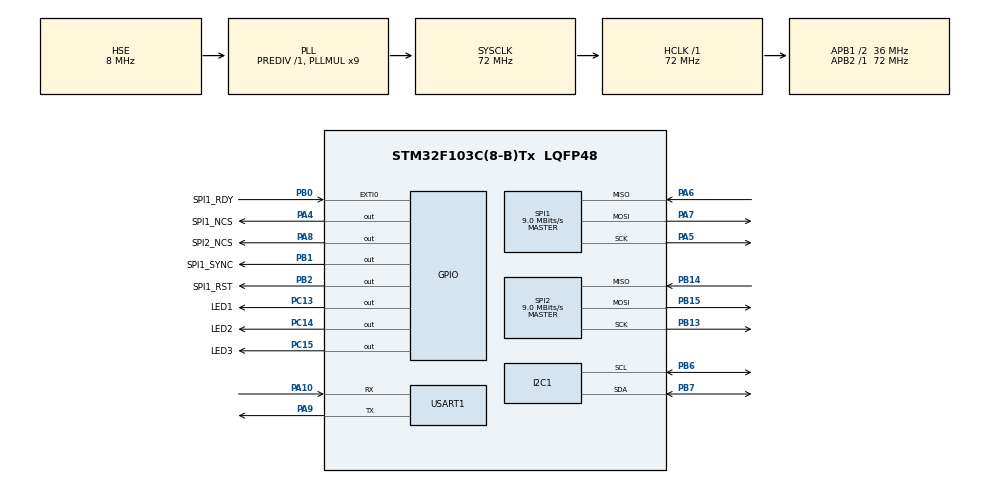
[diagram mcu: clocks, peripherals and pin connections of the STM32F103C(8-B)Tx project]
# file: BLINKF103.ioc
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Mcu.Family=STM32F1
PA6.Mode=Full_Duplex_Master
FATFS._USE_LFN=1
SPI1.VirtualType=VM_MASTER
SPI2.VirtualType=VM_MASTER
PB0.GPIO_Label=SPI1_RDY
PB13.Signal=SPI2_SCK
PB15.Signal=SPI2_MOSI
PC15-OSC32_OUT.GPIO_Label=LED3
RCC.SYSCLKSource=RCC_SYSCLKSOURCE_PLLCLK
ProjectManager.StackSize=0x400
PD1-OSC_OUT.Signal=RCC_OSC_OUT
SPI1.Direction=SPI_DIRECTION_2LINES
RCC.HCLKFreq_Value=72000000
RCC.APB2TimFreq_Value=72000000
PB6.Signal=I2C1_SCL
SPI1.CalculateBaudRate=9.0 MBits/s
PB6.Mode=I2C
RCC.AHBFreq_Value=72000000
SPI2.BaudRatePrescaler=SPI_BAUDRATEPRESCALER_4
PB2.Signal=GPIO_Output
RCC.PLLMUL=RCC_PLL_MUL9
FATFS._USE_STRFUNC=2
PB0.GPIO_ModeDefaultEXTI=GPIO_MODE_IT_FALLING
PA14.Mode=Serial_Wire
PB14.Mode=Full_Duplex_Master
PB1.GPIO_Label=SPI1_SYNC
SPI2.CalculateBaudRate=9.0 MBits/s
PB7.Signal=I2C1_SDA
PA8.Signal=GPIO_Output
Mcu.Package=LQFP48
TIM2.Prescaler=36-1
PB1.Signal=GPIO_Output
PA6.Signal=SPI1_MISO
SPI2.Mode=SPI_MODE_MASTER
PA10.Signal=USART1_RX
SPI2.CLKPhase=SPI_PHASE_1EDGE
RCC.APB1TimFreq_Value=72000000
PC14-OSC32_IN.GPIO_Label=LED2
SPI2.Direction=SPI_DIRECTION_2LINES
PB13.Mode=Full_Duplex_Master
NVIC.USART1_IRQn=true\:0\:0\:false\:false\:true\:true\:true
SPI1.BaudRatePrescaler=SPI_BAUDRATEPRESCALER_8
PA4.GPIO_Label=SPI1_NCS
PA5.Mode=Full_Duplex_Master
RCC.PLLSourceVirtual=RCC_PLLSOURCE_HSE
PA7.Mode=Full_Duplex_Master
PD1-OSC_OUT.Mode=HSE-External-Oscillator
PA10.Mode=Asynchronous
PC13-TAMPER-RTC.Signal=GPIO_Output
SPI1.CLKPhase=SPI_PHASE_2EDGE
PD0-OSC_IN.Signal=RCC_OSC_IN
RCC.APB1CLKDivider=RCC_HCLK_DIV2
PC14-OSC32_IN.Signal=GPIO_Output
PA13.Signal=SYS_JTMS-SWDIO
PA9.Mode=Asynchronous
PA8.GPIO_Label=SPI2_NCS
ProjectManager.TargetToolchain=STM32CubeIDE
I2C1.I2C_Mode=I2C_Fast
PA9.Signal=USART1_TX
RCC.USBFreq_Value=72000000
PC15-OSC32_OUT.Signal=GPIO_Output
VP_FATFS_VS_Generic.Mode=User_defined
PD0-OSC_IN.Mode=HSE-External-Oscillator
PB14.Signal=SPI2_MISO
PA5.Signal=SPI1_SCK
board=custom
PC13-TAMPER-RTC.GPIO_Label=LED1
PB15.Mode=Full_Duplex_Master
RCC.APB2Freq_Value=72000000
VP_TIM2_VS_ClockSourceINT.Mode=Internal
SPI1.Mode=SPI_MODE_MASTER
TIM2.Period=65535-1
PA13.Mode=Serial_Wire
Mcu.Name=STM32F103C(8-B)Tx
FATFS._MAX_SS=1024
NVIC.EXTI0_IRQn=true\:0\:0\:false\:false\:true\:true\:true
PA4.Signal=GPIO_Output
RCC.SYSCLKFreq_VALUE=72000000
USART1.VirtualMode=VM_ASYNC
PB7.Mode=I2C
PA14.Signal=SYS_JTCK-SWCLK
PB2.GPIO_Label=SPI1_RST
ProjectManager.HeapSize=0x200
NVIC.PriorityGroup=NVIC_PRIORITYGROUP_4
RCC.APB1Freq_Value=36000000
PB0.Signal=GPXTI0
PA7.Signal=SPI1_MOSI

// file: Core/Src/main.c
/* USER CODE BEGIN Header */
/**
 ******************************************************************************
 * @file           : main.c
 * @brief          : Main program body
 ******************************************************************************
 * @attention
 *
 * <h2><center>&copy; Copyright (c) 2020 STMicroelectronics.
 * All rights reserved.</center></h2>
 *
 * This software component is licensed by ST under BSD 3-Clause license,
 * the "License"; You may not use this file except in compliance with the
 * License. You may obtain a copy of the License at:
 *                        opensource.org/licenses/BSD-3-Clause
 *
 ******************************************************************************
 */
/* USER CODE END Header */
#include "main.h"
#include "fatfs.h"

/* USER CODE BEGIN Includes */
#include "fatfs_sd.h"
#include "string.h"
#include "stdio.h"
#include "ads1256.h"
#include "file_handling.h"
#include "UartRingbuffer.h"
#include "stm32f1xx_it.h"
#include "MPU6050.h"

/* USER CODE END Includes */

/* USER CODE BEGIN PD */

#define FILE_BASE_NAME "ESQ"
/* USER CODE END PD */

I2C_HandleTypeDef hi2c1;

SPI_HandleTypeDef hspi1;
SPI_HandleTypeDef hspi2;

TIM_HandleTypeDef htim2;

UART_HandleTypeDef huart1;

/* USER CODE BEGIN PV */

FATFS fs;
FIL fil;
FRESULT fresult;
//char buffer[256];
char *exchange_buffer1[1];
int conversion_trigger = 0;
int line_counter = 0;
char uart_buffer[64];
uint32_t adc_return1;
uint32_t adc_return2;
uint32_t adc_return3;
uint32_t adc_return4;
uint32_t adc_return5;
uint32_t adc_return6;
uint32_t adc_return7;
uint32_t adc_return8;

extern float angleAccX, angleAccY;
extern float angleX, angleY, angleZ;
extern float temp, accX, accY, accZ, gyroX, gyroY, gyroZ;
extern int16_t Accel_X_RAW, Accel_Y_RAW, Accel_Z_RAW;
extern float acc_total_vector, angle_pitch_acc, angle_roll_acc;

/* USER CODE END PV */

void SystemClock_Config(void);
static void MX_GPIO_Init(void);
static void MX_TIM2_Init(void);
static void MX_SPI1_Init(void);
static void MX_USART1_UART_Init(void);
static void MX_SPI2_Init(void);
static void MX_I2C1_Init(void);

/* USER CODE BEGIN 0 */

const uint8_t BASE_NAME_SIZE = sizeof(FILE_BASE_NAME) - 1;
char fileName[] = FILE_BASE_NAME "00.txt";

char cmd = 0;

/* USER CODE END 0 */

int main(void)
{

	/* MCU Configuration--------------------------------------------------------*/

	/* Reset of all peripherals, Initializes the Flash interface and the Systick. */
	HAL_Init();

	/* Configure the system clock */
	SystemClock_Config();

	/* Initialize all configured peripherals */
	MX_GPIO_Init();
	MX_TIM2_Init();
	MX_SPI1_Init();
	MX_USART1_UART_Init();
	MX_FATFS_Init();
	MX_SPI2_Init();
	MX_I2C1_Init();
	/* USER CODE BEGIN 2 */
	HAL_TIM_Base_Start(&htim2);
	HAL_GPIO_WritePin(SPI1_RST_GPIO_Port, SPI1_RST_Pin, 1);
	Ringbuf_init();
	HAL_GPIO_WritePin(LED1_GPIO_Port, LED1_Pin, 0);
	HAL_GPIO_WritePin(LED2_GPIO_Port, LED2_Pin, 1);
	HAL_GPIO_WritePin(LED3_GPIO_Port, LED3_Pin, 1);
	HAL_Delay(1000);
	send_uart("Inicializando lado direito. Por favor, aguarde...\n");

	initADS();

	send_uart("Montando SD...\n");

	mount_sd();

	create_file_mod(BASE_NAME_SIZE, fileName);

	//send_uart("Inicializando IMU...\n");
	//MPU6050_Init();
	//MPU6050_Retrieve_Data();
	/* USER CODE END 2 */

	/* Infinite loop */
	while (1) {

		/* USER CODE BEGIN 3 */
		// ------------------------------------
		// Testing the ADS1256 functions
		// ------------------------------------
		//send_uart("Faaaaaaaaala Nigeeeeeel\n");
		//MPU6050_Update();
		//sprintf(uart_buffer,"%0.2f\t%0.2f\t%0.2f\t%0.2f\n",(float)angleAccX,(float)angleAccY,(float)angleX,(float)angleY);
		//send_uart(uart_buffer);
		//HAL_Delay(50);

		if (conversion_trigger == 1) {
			const uint32_t timezinho = GetMicros();
			adc_return1 = read_Value(0x68);
			adc_return2 = read_Value(0x58);
			adc_return3 = read_Value(0x78);
			sprintf(buffer, "%lu\t%lu\t%lu\t%lu\n", (unsigned long) timezinho,
					(unsigned long) adc_return1, (unsigned long) adc_return2,
					(unsigned long) adc_return3);
			const uint8_t buflen = strlen(buffer);
			memccpy(&buffer_SD[line_counter * buflen], buffer, 0, buflen);
			line_counter++;
			if (line_counter * buflen > BUFFER_SIZE * ROW_SIZE - buflen) {
				write_file_mod(fileName, buffer_SD);
				line_counter = 0;
				clear_buffer_SD();
			}
		}

		if (conversion_trigger == 2) {
			const uint32_t timezinho = GetMicros();
			adc_return1 = read_Value(0x68);
			adc_return2 = read_Value(0x58);
			adc_return4 = read_Value(0x48);
			adc_return5 = read_Value(0x38);
			adc_return6 = read_Value(0x28);
			adc_return7 = read_Value(0x18);
			adc_return8 = read_Value(0x08);
			adc_return3 = read_Value(0x78);
			sprintf(buffer, "%lu\t%lu\t%lu\t%lu\t%lu\t%lu\t%lu\t%lu\t%lu\n",
					(unsigned long) timezinho, (unsigned long) adc_return1,
					(unsigned long) adc_return2, (unsigned long) adc_return4,
					(unsigned long) adc_return5, (unsigned long) adc_return6,
					(unsigned long) adc_return7, (unsigned long) adc_return8,
					(unsigned long) adc_return3);
			const uint8_t buflen = strlen(buffer);
			memccpy(&buffer_SD[line_counter * buflen], buffer, 0, buflen);
			line_counter++;
			if (line_counter * buflen > BUFFER_SIZE * ROW_SIZE - buflen) {
				write_file_mod(fileName, buffer_SD);
				line_counter = 0;
				clear_buffer_SD();
			}
		}

		if (conversion_trigger == 3) {
			const uint32_t timezinho = GetMicros();
			adc_return1 = read_Value(0x68);
			adc_return2 = read_Value(0x58);
			adc_return3 = read_Value(0x78);
			sprintf(buffer, "%lu\t%lu\t%lu\t%lu\n", (unsigned long) timezinho,
					(unsigned long) adc_return1, (unsigned long) adc_return2,
					(unsigned long) adc_return3);
			const uint8_t buflen = strlen(buffer);
			send_uart(buffer);
			line_counter++;
			if (line_counter * buflen > BUFFER_SIZE * ROW_SIZE - buflen) {
				line_counter = 0;
			}
		}

		if (conversion_trigger == 4) {
			const uint32_t timezinho = GetMicros();
			adc_return1 = read_Value(0x68);
			adc_return2 = read_Value(0x58);
			adc_return4 = read_Value(0x48);
			adc_return5 = read_Value(0x38);
			adc_return6 = read_Value(0x28);
			adc_return7 = read_Value(0x18);
			adc_return8 = read_Value(0x08);
			adc_return3 = read_Value(0x78);
			sprintf(buffer, "%lu\t%lu\t%lu\t%lu\t%lu\t%lu\t%lu\t%lu\t%lu\n",
					(unsigned long) timezinho, (unsigned long) adc_return1,
					(unsigned long) adc_return2,
					(unsigned long) adc_return4, (unsigned long) adc_return5,
					(unsigned long) adc_return6, (unsigned long) adc_return7,
					(unsigned long) adc_return8, (unsigned long) adc_return3);
			const uint8_t buflen = strlen(buffer);
			send_uart(buffer);
			line_counter++;
			if (line_counter * buflen > BUFFER_SIZE * ROW_SIZE - buflen) {
				line_counter = 0;
			}
		}
		// ------------------------------------
		// Strip of the code that treats the SD
		// ------------------------------------
		while (IsDataAvailable()) {
			//		  buffer = Uart_read();
			Get_string(buffer);
			uint8_t len = cmdlength(buffer);

			//		  buffer[0]='l';
			//		  buffer[1]='s';
			get_path();
			//
			if (!(strncmp("ls", buffer, len)))
				cmd = 'l';

			if (!(strncmp("mkdir", buffer, len)))
				cmd = 'm';

			if (!(strncmp("mkfil", buffer, len)))
				cmd = 'c';

			if (!(strncmp("read", buffer, len)))
				cmd = 'r';

			if (!(strncmp("write", buffer, len)))
				cmd = 'w';

			if (!(strncmp("rm", buffer, len)))
				cmd = 'd';

			if (!(strncmp("update", buffer, len)))
				cmd = 'u';

			if (!(strncmp("checkfile", buffer, len)))
				cmd = 'f';

			if (!(strncmp("checksd", buffer, len)))
				cmd = 's';

			if (!(strncmp("sd3", buffer, len)))
				cmd = 'x';

			if (!(strncmp("serial3", buffer, len)))
				cmd = 'b';

			if (!(strncmp("sd8", buffer, len)))
				cmd = 'a';

			if (!(strncmp("serial8", buffer, len)))
				cmd = 'e';

			if (!(strncmp("end", buffer, len)))
				cmd = 'y';
			//sprintf (buffer, "BUFFER SIZE: \t%d\n",len);
			//send_uart(buffer);

			switch (cmd) {
			case ('x'):
										//send_uart("ADS1256 started.");
										HAL_GPIO_WritePin(LED1_GPIO_Port, LED1_Pin, 1);
			HAL_GPIO_WritePin(LED2_GPIO_Port, LED2_Pin, 0);
			HAL_GPIO_WritePin(LED3_GPIO_Port, LED3_Pin, 1);
			//				create_file_mod(BASE_NAME_SIZE, fileName);
			delayMicroseconds(500);
			cmd = 0;
			conversion_trigger = 1;
			clear_buffer();
			clear_path();
			UptimeMillis = 0;
			break;

			case ('a'):
										//send_uart("ADS1256 started.");
										HAL_GPIO_WritePin(LED1_GPIO_Port, LED1_Pin, 1);
			HAL_GPIO_WritePin(LED2_GPIO_Port, LED2_Pin, 0);
			HAL_GPIO_WritePin(LED3_GPIO_Port, LED3_Pin, 1);
			//				create_file_mod(BASE_NAME_SIZE, fileName);
			delayMicroseconds(500);
			cmd = 0;
			conversion_trigger = 2;
			clear_buffer();
			clear_path();
			UptimeMillis = 0;
			break;

			case ('b'):
										//send_uart("ADS1256 started.");
										HAL_GPIO_WritePin(LED1_GPIO_Port, LED1_Pin, 1);
			HAL_GPIO_WritePin(LED2_GPIO_Port, LED2_Pin, 1);
			HAL_GPIO_WritePin(LED3_GPIO_Port, LED3_Pin, 0);
			//				create_file_mod(BASE_NAME_SIZE, fileName);
			delayMicroseconds(500);
			cmd = 0;
			conversion_trigger = 3;
			clear_buffer();
			clear_path();
			UptimeMillis = 0;
			break;

			case ('e'):
										//send_uart("ADS1256 started.");
										HAL_GPIO_WritePin(LED1_GPIO_Port, LED1_Pin, 1);
			HAL_GPIO_WritePin(LED2_GPIO_Port, LED2_Pin, 1);
			HAL_GPIO_WritePin(LED3_GPIO_Port, LED3_Pin, 0);
			//				create_file_mod(BASE_NAME_SIZE, fileName);
			delayMicroseconds(500);
			cmd = 0;
			conversion_trigger = 4;
			clear_buffer();
			clear_path();
			UptimeMillis = 0;
			break;

			case ('y'):
										//send_uart("ADS1256 halted.");
										HAL_GPIO_WritePin(LED1_GPIO_Port, LED1_Pin, 0);
			HAL_GPIO_WritePin(LED2_GPIO_Port, LED2_Pin, 1);
			HAL_GPIO_WritePin(LED3_GPIO_Port, LED3_Pin, 1);
			cmd = 0;
			conversion_trigger = 0;
			write_file_mod(fileName, buffer_SD);
			close_file(fileName);
			clear_buffer_SD();
			clear_buffer();
			clear_path();
			create_file_mod(BASE_NAME_SIZE, fileName);
			break;

			case ('l'):
										scan_files(path);
			cmd = 0;
			clear_buffer();
			clear_path();
			break;

			case ('m'):
										create_dir(path);
			cmd = 0;
			clear_buffer();
			clear_path();
			break;

			case ('c'):
										create_file(path);
			cmd = 0;
			clear_buffer();
			clear_path();
			break;

			case ('r'):
										read_file(path);
			cmd = 0;
			clear_buffer();
			clear_path();
			break;

			case ('w'):
										write_file(path);
			cmd = 0;
			clear_buffer();
			clear_path();
			break;

			case ('d'):
										remove_file(path);
			cmd = 0;
			clear_buffer();
			clear_path();
			break;

			case ('u'):
										update_file(path);
			cmd = 0;
			clear_buffer();
			clear_path();
			break;

			case ('f'):
										check_file(path);
			cmd = 0;
			clear_buffer();
			clear_path();
			break;

			case ('s'):
										check_sd();
			cmd = 0;
			clear_buffer();
			clear_path();
			break;

			default:
				clear_buffer();
				clear_path();
				break;
			}
		}
	}
	/* USER CODE END 3 */
}

void SystemClock_Config(void)
{
	RCC_OscInitTypeDef RCC_OscInitStruct = {0};
	RCC_ClkInitTypeDef RCC_ClkInitStruct = {0};

	/** Initializes the RCC Oscillators according to the specified parameters
	 * in the RCC_OscInitTypeDef structure.
	 */
	RCC_OscInitStruct.OscillatorType = RCC_OSCILLATORTYPE_HSE;
	RCC_OscInitStruct.HSEState = RCC_HSE_ON;
	RCC_OscInitStruct.HSEPredivValue = RCC_HSE_PREDIV_DIV1;
	RCC_OscInitStruct.HSIState = RCC_HSI_ON;
	RCC_OscInitStruct.PLL.PLLState = RCC_PLL_ON;
	RCC_OscInitStruct.PLL.PLLSource = RCC_PLLSOURCE_HSE;
	RCC_OscInitStruct.PLL.PLLMUL = RCC_PLL_MUL9;
	if (HAL_RCC_OscConfig(&RCC_OscInitStruct) != HAL_OK)
	{
		Error_Handler();
	}
	/** Initializes the CPU, AHB and APB buses clocks
	 */
	RCC_ClkInitStruct.ClockType = RCC_CLOCKTYPE_HCLK|RCC_CLOCKTYPE_SYSCLK
			|RCC_CLOCKTYPE_PCLK1|RCC_CLOCKTYPE_PCLK2;
	RCC_ClkInitStruct.SYSCLKSource = RCC_SYSCLKSOURCE_PLLCLK;
	RCC_ClkInitStruct.AHBCLKDivider = RCC_SYSCLK_DIV1;
	RCC_ClkInitStruct.APB1CLKDivider = RCC_HCLK_DIV2;
	RCC_ClkInitStruct.APB2CLKDivider = RCC_HCLK_DIV1;

	if (HAL_RCC_ClockConfig(&RCC_ClkInitStruct, FLASH_LATENCY_2) != HAL_OK)
	{
		Error_Handler();
	}
}

static void MX_I2C1_Init(void)
{

	hi2c1.Instance = I2C1;
	hi2c1.Init.ClockSpeed = 400000;
	hi2c1.Init.DutyCycle = I2C_DUTYCYCLE_2;
	hi2c1.Init.OwnAddress1 = 0;
	hi2c1.Init.AddressingMode = I2C_ADDRESSINGMODE_7BIT;
	hi2c1.Init.DualAddressMode = I2C_DUALADDRESS_DISABLE;
	hi2c1.Init.OwnAddress2 = 0;
	hi2c1.Init.GeneralCallMode = I2C_GENERALCALL_DISABLE;
	hi2c1.Init.NoStretchMode = I2C_NOSTRETCH_DISABLE;
	if (HAL_I2C_Init(&hi2c1) != HAL_OK)
	{
		Error_Handler();
	}

}

static void MX_SPI1_Init(void)
{

	/* SPI1 parameter configuration*/
	hspi1.Instance = SPI1;
	hspi1.Init.Mode = SPI_MODE_MASTER;
	hspi1.Init.Direction = SPI_DIRECTION_2LINES;
	hspi1.Init.DataSize = SPI_DATASIZE_8BIT;
	hspi1.Init.CLKPolarity = SPI_POLARITY_LOW;
	hspi1.Init.CLKPhase = SPI_PHASE_2EDGE;
	hspi1.Init.NSS = SPI_NSS_SOFT;
	hspi1.Init.BaudRatePrescaler = SPI_BAUDRATEPRESCALER_8;
	hspi1.Init.FirstBit = SPI_FIRSTBIT_MSB;
	hspi1.Init.TIMode = SPI_TIMODE_DISABLE;
	hspi1.Init.CRCCalculation = SPI_CRCCALCULATION_DISABLE;
	hspi1.Init.CRCPolynomial = 10;
	if (HAL_SPI_Init(&hspi1) != HAL_OK)
	{
		Error_Handler();
	}

}

static void MX_SPI2_Init(void)
{

	/* SPI2 parameter configuration*/
	hspi2.Instance = SPI2;
	hspi2.Init.Mode = SPI_MODE_MASTER;
	hspi2.Init.Direction = SPI_DIRECTION_2LINES;
	hspi2.Init.DataSize = SPI_DATASIZE_8BIT;
	hspi2.Init.CLKPolarity = SPI_POLARITY_LOW;
	hspi2.Init.CLKPhase = SPI_PHASE_1EDGE;
	hspi2.Init.NSS = SPI_NSS_SOFT;
	hspi2.Init.BaudRatePrescaler = SPI_BAUDRATEPRESCALER_4;
	hspi2.Init.FirstBit = SPI_FIRSTBIT_MSB;
	hspi2.Init.TIMode = SPI_TIMODE_DISABLE;
	hspi2.Init.CRCCalculation = SPI_CRCCALCULATION_DISABLE;
	hspi2.Init.CRCPolynomial = 10;
	if (HAL_SPI_Init(&hspi2) != HAL_OK)
	{
		Error_Handler();
	}

}

static void MX_TIM2_Init(void)
{

	TIM_ClockConfigTypeDef sClockSourceConfig = {0};
	TIM_MasterConfigTypeDef sMasterConfig = {0};

	htim2.Instance = TIM2;
	htim2.Init.Prescaler = 36-1;
	htim2.Init.CounterMode = TIM_COUNTERMODE_UP;
	htim2.Init.Period = 65535-1;
	htim2.Init.ClockDivision = TIM_CLOCKDIVISION_DIV1;
	htim2.Init.AutoReloadPreload = TIM_AUTORELOAD_PRELOAD_DISABLE;
	if (HAL_TIM_Base_Init(&htim2) != HAL_OK)
	{
		Error_Handler();
	}
	sClockSourceConfig.ClockSource = TIM_CLOCKSOURCE_INTERNAL;
	if (HAL_TIM_ConfigClockSource(&htim2, &sClockSourceConfig) != HAL_OK)
	{
		Error_Handler();
	}
	sMasterConfig.MasterOutputTrigger = TIM_TRGO_RESET;
	sMasterConfig.MasterSlaveMode = TIM_MASTERSLAVEMODE_DISABLE;
	if (HAL_TIMEx_MasterConfigSynchronization(&htim2, &sMasterConfig) != HAL_OK)
	{
		Error_Handler();
	}

}

static void MX_USART1_UART_Init(void)
{

	huart1.Instance = USART1;
	huart1.Init.BaudRate = 115200;
	huart1.Init.WordLength = UART_WORDLENGTH_8B;
	huart1.Init.StopBits = UART_STOPBITS_1;
	huart1.Init.Parity = UART_PARITY_NONE;
	huart1.Init.Mode = UART_MODE_TX_RX;
	huart1.Init.HwFlowCtl = UART_HWCONTROL_NONE;
	huart1.Init.OverSampling = UART_OVERSAMPLING_16;
	if (HAL_UART_Init(&huart1) != HAL_OK)
	{
		Error_Handler();
	}

}

static void MX_GPIO_Init(void)
{
	GPIO_InitTypeDef GPIO_InitStruct = {0};

	/* GPIO Ports Clock Enable */
	__HAL_RCC_GPIOC_CLK_ENABLE();
	__HAL_RCC_GPIOD_CLK_ENABLE();
	__HAL_RCC_GPIOA_CLK_ENABLE();
	__HAL_RCC_GPIOB_CLK_ENABLE();

	/*Configure GPIO pin Output Level */
	HAL_GPIO_WritePin(GPIOC, LED1_Pin|LED2_Pin|LED3_Pin, GPIO_PIN_RESET);

	/*Configure GPIO pin Output Level */
	HAL_GPIO_WritePin(GPIOA, SPI1_NCS_Pin|SPI2_NCS_Pin, GPIO_PIN_RESET);

	/*Configure GPIO pin Output Level */
	HAL_GPIO_WritePin(GPIOB, SPI1_SYNC_Pin|SPI1_RST_Pin, GPIO_PIN_RESET);

	/*Configure GPIO pins : LED1_Pin LED2_Pin LED3_Pin */
	GPIO_InitStruct.Pin = LED1_Pin|LED2_Pin|LED3_Pin;
	GPIO_InitStruct.Mode = GPIO_MODE_OUTPUT_PP;
	GPIO_InitStruct.Pull = GPIO_NOPULL;
	GPIO_InitStruct.Speed = GPIO_SPEED_FREQ_LOW;
	HAL_GPIO_Init(GPIOC, &GPIO_InitStruct);

	/*Configure GPIO pins : SPI1_NCS_Pin SPI2_NCS_Pin */
	GPIO_InitStruct.Pin = SPI1_NCS_Pin|SPI2_NCS_Pin;
	GPIO_InitStruct.Mode = GPIO_MODE_OUTPUT_PP;
	GPIO_InitStruct.Pull = GPIO_NOPULL;
	GPIO_InitStruct.Speed = GPIO_SPEED_FREQ_LOW;
	HAL_GPIO_Init(GPIOA, &GPIO_InitStruct);

	/*Configure GPIO pin : SPI1_RDY_Pin */
	GPIO_InitStruct.Pin = SPI1_RDY_Pin;
	GPIO_InitStruct.Mode = GPIO_MODE_IT_FALLING;
	GPIO_InitStruct.Pull = GPIO_NOPULL;
	HAL_GPIO_Init(SPI1_RDY_GPIO_Port, &GPIO_InitStruct);

	/*Configure GPIO pins : SPI1_SYNC_Pin SPI1_RST_Pin */
	GPIO_InitStruct.Pin = SPI1_SYNC_Pin|SPI1_RST_Pin;
	GPIO_InitStruct.Mode = GPIO_MODE_OUTPUT_PP;
	GPIO_InitStruct.Pull = GPIO_NOPULL;
	GPIO_InitStruct.Speed = GPIO_SPEED_FREQ_LOW;
	HAL_GPIO_Init(GPIOB, &GPIO_InitStruct);

	/* EXTI interrupt init*/
	HAL_NVIC_SetPriority(EXTI0_IRQn, 0, 0);
	HAL_NVIC_EnableIRQ(EXTI0_IRQn);

}

/* USER CODE BEGIN 4 */
void delayMicroseconds(uint16_t us) {
	__HAL_TIM_SET_COUNTER(&htim2, 0);  // set the counter value a 0
	while (__HAL_TIM_GET_COUNTER(&htim2) < us)
		;  // wait for the counter to reach the us input in the parameter
}
/* USER CODE END 4 */

void Error_Handler(void)
{
	__disable_irq();
	while (1) {
	}
}

/************************ (C) COPYRIGHT STMicroelectronics *****END OF FILE****/
